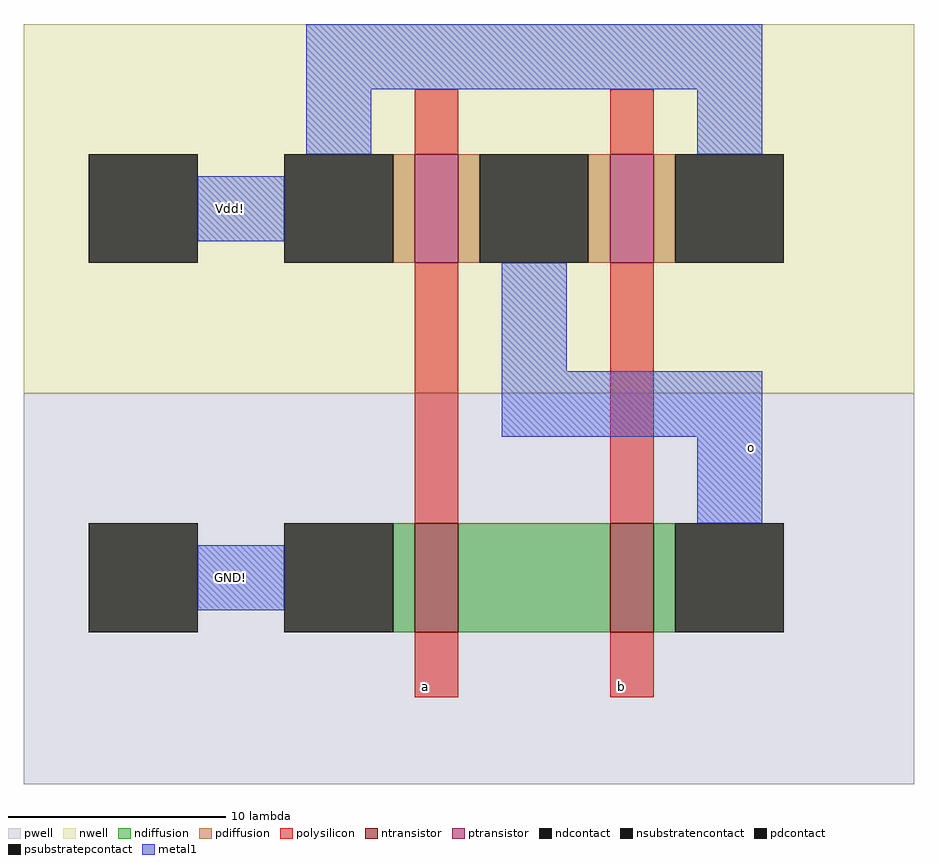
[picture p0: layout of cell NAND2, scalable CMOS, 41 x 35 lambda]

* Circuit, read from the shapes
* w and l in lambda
.subckt NAND2 GND! Vdd! a b o
M1 n1 a GND! GND! nfet w=5 l=2
M2 o b n1 GND! nfet w=5 l=2
M3 o a Vdd! Vdd! pfet w=5 l=2
M4 Vdd! b o Vdd! pfet w=5 l=2
.ends

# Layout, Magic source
magic
tech scmos
<< nwell >>
rect -12 11 29 28
<< pwell >>
rect -12 -7 29 11
<< ntransistor >>
rect 6 0 8 5
rect 15 0 17 5
<< ptransistor >>
rect 6 17 8 22
rect 15 17 17 22
<< ndiffusion >>
rect 5 0 6 5
rect 8 0 15 5
rect 17 0 18 5
<< pdiffusion >>
rect 5 17 6 22
rect 8 17 9 22
rect 14 17 15 22
rect 17 17 18 22
<< ndcontact >>
rect 0 0 5 5
rect 18 0 23 5
<< pdcontact >>
rect 0 17 5 22
rect 9 17 14 22
rect 18 17 23 22
<< psubstratepcontact >>
rect -9 0 -4 5
<< nsubstratencontact >>
rect -9 17 -4 22
<< polysilicon >>
rect 6 22 8 25
rect 15 22 17 25
rect 6 5 8 17
rect 15 5 17 17
rect 6 -3 8 0
rect 15 -3 17 0
<< metal1 >>
rect 1 25 22 28
rect 1 22 4 25
rect 19 22 22 25
rect -4 18 0 21
rect 10 12 13 17
rect 10 9 22 12
rect 19 5 22 9
rect -4 1 0 4
<< labels >>
rlabel metal1 -3 2 -2 3 1 GND!
rlabel metal1 -3 19 -2 20 1 Vdd!
rlabel polysilicon 6 -3 7 -2 1 a
rlabel polysilicon 15 -3 16 -2 1 b
rlabel metal1 21 8 22 9 1 o
<< end >>
